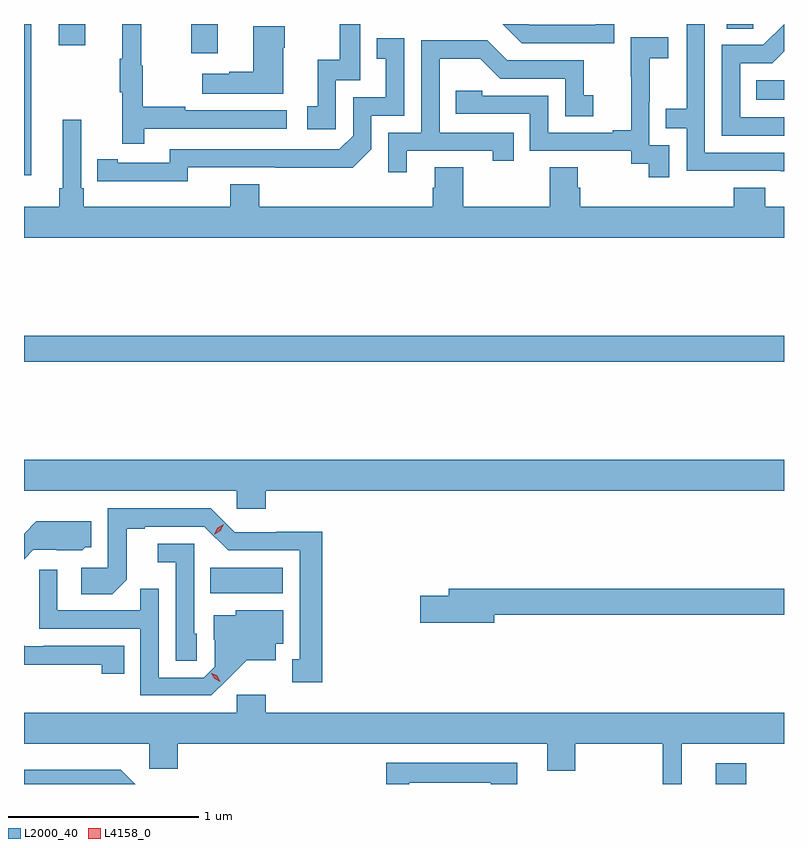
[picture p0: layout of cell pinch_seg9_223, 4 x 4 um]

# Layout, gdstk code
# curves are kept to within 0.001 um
import gdstk
lib = gdstk.Library(unit=1e-6, precision=1e-09)
def R(c, l, rs):  # rectangles x0, y0, x1, y1
    for r in rs: c.add(gdstk.rectangle(r[:2], r[2:], *l))
def P(c, l, *ps):  # polygons
    for p in ps: c.add(gdstk.Polygon(p, *l))
L2000_40 = (2000, 40)
L4158_0 = (4158, 0)

pinch_seg9_223 = lib.new_cell('pinch_seg9_223')
R(pinch_seg9_223, L2000_40, [(616.442,1209.529,616.601,1209.637), (613.78,1210.532,614.161,1210.666), (612.8,1211.752,616.8,1211.888), (612.8,1212.732,612.838,1213.529), (616.654,1213.13,616.8,1213.234), (613.679,1213.374,613.819,1213.529), (612.983,1213.416,613.123,1213.529), (616.499,1213.504,616.638,1213.529)])
P(pinch_seg9_223, L2000_40, [(613.433,1212.978),(614.182,1212.978),(614.182,1213.074),(613.649,1213.074),(613.649,1213.094),(613.426,1213.094),(613.426,1213.308),(613.418,1213.308),(613.418,1213.529),(613.316,1213.529),(613.316,1213.345),(613.305,1213.345),(613.305,1213.171),(613.316,1213.171),(613.316,1212.9),(613.433,1212.9)],
  [(614.442,1213.233),(614.571,1213.233),(614.571,1213.529),(614.463,1213.529),(614.463,1213.342),(614.345,1213.342),(614.345,1213.095),(614.292,1213.095),(614.292,1212.975),(614.442,1212.975)],
  [(616.8,1212.852),(616.383,1212.852),(616.383,1213.529),(616.287,1213.529),(616.287,1213.082),(616.177,1213.082),(616.177,1212.981),(616.287,1212.981),(616.287,1212.756),(616.783,1212.756),(616.783,1212.755),(616.8,1212.755)],
  [(615.906,1213.529),(615.809,1213.529),(615.809,1213.524),(615.462,1213.524),(615.457,1213.529),(615.319,1213.529),(615.42,1213.428),(615.906,1213.428)],
  [(616.8,1213.038),(616.569,1213.038),(616.569,1213.323),(616.738,1213.323),(616.8,1213.385),(616.8,1213.527),(616.692,1213.419),(616.473,1213.419),(616.473,1212.942),(616.8,1212.942)],
  [(614.164,1213.403),(614.172,1213.403),(614.172,1213.516),(614.006,1213.516),(614.006,1213.277),(613.88,1213.277),(613.88,1213.267),(613.737,1213.267),(613.737,1213.163),(614.164,1213.163)],
  [(616.197,1212.891),(616.092,1212.891),(616.092,1213.121),(616.094,1213.121),(616.094,1213.349),(616.192,1213.349),(616.192,1213.459),(615.994,1213.459),(615.994,1213.253),(615.995,1213.253),(615.995,1212.97),(615.899,1212.97),(615.899,1212.957),(615.558,1212.957),(615.558,1213.152),(615.213,1213.152),(615.213,1213.179),(615.073,1213.179),(615.073,1213.056),(615.462,1213.056),(615.462,1212.861),(615.996,1212.861),(615.996,1212.793),(616.089,1212.793),(616.089,1212.723),(616.197,1212.723)],
  [(613.662,1212.774),(614.53,1212.773),(614.628,1212.87),(614.628,1213.047),(614.802,1213.047),(614.802,1213.453),(614.656,1213.453),(614.656,1213.347),(614.705,1213.347),(614.705,1213.143),(614.532,1213.143),(614.532,1212.942),(614.46,1212.87),(613.566,1212.87),(613.566,1212.798),(613.294,1212.798),(613.294,1212.818),(613.186,1212.818),(613.186,1212.702),(613.662,1212.701)],
  [(614.815,1212.861),(615.266,1212.861),(615.266,1212.81),(615.377,1212.81),(615.377,1212.957),(614.988,1212.957),(614.988,1213.346),(615.202,1213.346),(615.306,1213.242),(615.648,1213.242),(615.648,1213.044),(615.796,1213.044),(615.796,1213.153),(615.747,1213.153),(615.747,1213.338),(615.343,1213.338),(615.238,1213.443),(614.892,1213.443),(614.892,1212.957),(614.718,1212.957),(614.718,1212.75),(614.815,1212.75)],
  [(616.8,1212.568),(616.7,1212.568),(616.7,1212.667),(616.535,1212.667),(616.535,1212.568),(615.728,1212.568),(615.728,1212.666),(615.715,1212.666),(615.715,1212.776),(615.568,1212.776),(615.568,1212.568),(615.111,1212.568),(615.111,1212.776),(614.963,1212.776),(614.963,1212.666),(614.951,1212.666),(614.951,1212.568),(614.039,1212.568),(614.039,1212.685),(613.886,1212.685),(613.886,1212.568),(613.115,1212.568),(613.115,1212.664),(613.101,1212.664),(613.101,1213.024),(613.004,1213.024),(613.004,1212.664),(612.985,1212.664),(612.985,1212.568),(612.8,1212.568),(612.8,1212.404),(616.8,1212.404)],
  [(614.072,1211.072),(616.8,1211.072),(616.8,1211.236),(612.8,1211.236),(612.8,1211.072),(613.92,1211.072),(613.92,1210.979),(614.072,1210.979)],
  [(614.371,1210.856),(614.13,1210.856),(614.13,1210.854),(613.908,1210.854),(613.782,1210.98),(613.242,1210.98),(613.242,1210.668),(613.101,1210.668),(613.101,1210.528),(613.265,1210.528),(613.341,1210.604),(613.341,1210.872),(613.435,1210.872),(613.435,1210.884),(613.749,1210.884),(613.875,1210.758),(614.252,1210.758),(614.252,1210.185),(614.213,1210.185),(614.213,1210.065),(614.371,1210.065)],
  [(612.849,1210.761),(612.972,1210.761),(612.972,1210.76),(613.106,1210.76),(613.122,1210.776),(613.153,1210.776),(613.153,1210.912),(612.865,1210.912),(612.8,1210.846),(612.8,1210.712)],
  [(613.71,1210.32),(613.695,1210.32),(613.695,1210.794),(613.503,1210.794),(613.503,1210.697),(613.599,1210.697),(613.599,1210.177),(613.71,1210.177)],
  [(613.87,1210.079),(613.973,1210.181),(614.125,1210.181),(614.125,1210.268),(614.164,1210.268),(614.164,1210.444),(613.914,1210.444),(613.914,1210.417),(613.799,1210.417),(613.799,1210.288),(613.803,1210.288),(613.803,1210.146),(613.746,1210.089),(613.509,1210.089),(613.509,1210.556),(613.411,1210.556),(613.411,1210.443),(612.975,1210.443),(612.975,1210.657),(612.879,1210.657),(612.879,1210.347),(613.413,1210.347),(613.413,1209.996),(613.786,1209.996)],
  [(615.274,1210.42),(616.8,1210.42),(616.8,1210.556),(615.035,1210.556),(615.035,1210.52),(614.886,1210.52),(614.886,1210.378),(615.274,1210.378)],
  [(613.328,1210.257),(612.904,1210.257),(612.904,1210.254),(612.804,1210.254),(612.8,1210.258),(612.8,1210.157),(612.853,1210.157),(612.853,1210.156),(613.21,1210.156),(613.21,1210.11),(613.328,1210.11)],
  [(616.262,1209.74),(616.8,1209.74),(616.8,1209.904),(614.072,1209.904),(614.072,1210),(613.92,1210),(613.92,1209.904),(612.8,1209.904),(612.8,1209.74),(613.458,1209.74),(613.458,1209.609),(613.61,1209.609),(613.61,1209.74),(615.554,1209.74),(615.554,1209.598),(615.702,1209.598),(615.702,1209.74),(616.163,1209.74),(616.163,1209.529),(616.262,1209.529)],
  [(614.827,1209.536),(615.257,1209.536),(615.257,1209.529),(615.397,1209.529),(615.397,1209.64),(614.706,1209.64),(614.706,1209.529),(614.827,1209.529)],
  [(613.31,1209.604),(612.8,1209.604),(612.8,1209.529),(613.385,1209.529)])
P(pinch_seg9_223, L4158_0, [(613.802,1210.844),(613.802,1210.844),(613.82,1210.877),(613.851,1210.896),(613.851,1210.896),(613.851,1210.896),(613.834,1210.863),(613.803,1210.844)],
  [(613.834,1210.068),(613.804,1210.083),(613.786,1210.113),(613.786,1210.113),(613.787,1210.113),(613.817,1210.098),(613.834,1210.068),(613.834,1210.068)])

lib.write_gds('pinch_seg9_223.gds')
